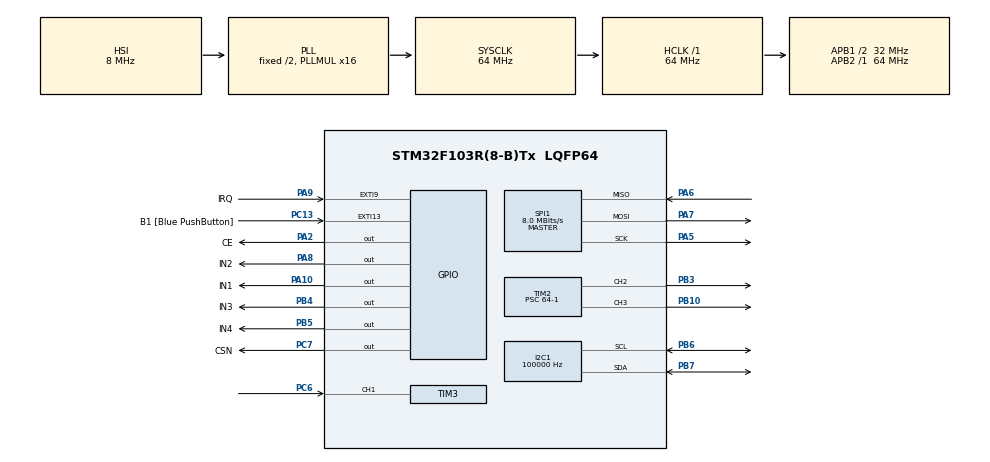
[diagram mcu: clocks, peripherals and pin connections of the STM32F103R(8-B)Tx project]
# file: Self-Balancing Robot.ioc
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I2C1.ClockSpeed=100000
Mcu.Family=STM32F1
Mcu.Name=STM32F103R(8-B)Tx
Mcu.Package=LQFP64
NVIC.EXTI15_10_IRQn=true\:0\:0\:false\:false\:true\:true\:true\:true
NVIC.EXTI9_5_IRQn=true\:0\:0\:false\:false\:true\:true\:true\:true
NVIC.PriorityGroup=NVIC_PRIORITYGROUP_4
NVIC.TIM3_IRQn=true\:0\:0\:false\:false\:true\:true\:true\:true
PA10.GPIO_Label=IN1
PA10.Signal=GPIO_Output
PA13.GPIO_Label=TMS
PA13.Mode=Serial_Wire
PA13.Signal=SYS_JTMS-SWDIO
PA14.GPIO_Label=TCK
PA14.Mode=Serial_Wire
PA14.Signal=SYS_JTCK-SWCLK
PA2.GPIO_Label=CE
PA2.Signal=GPIO_Output
PA3.GPIO_Label=USART_RX
PA3.GPIO_Mode=GPIO_MODE_AF_PP
PA3.GPIO_PuPd=GPIO_NOPULL
PA3.GPIO_Speed=GPIO_SPEED_FREQ_LOW
PA3.Signal=USART2_RX
PA5.Mode=Full_Duplex_Master
PA5.Signal=SPI1_SCK
PA6.Mode=Full_Duplex_Master
PA6.Signal=SPI1_MISO
PA7.Mode=Full_Duplex_Master
PA7.Signal=SPI1_MOSI
PA8.GPIO_Label=IN2
PA8.Signal=GPIO_Output
PA9.GPIO_Label=IRQ
PA9.GPIO_ModeDefaultEXTI=GPIO_MODE_IT_FALLING
PA9.Signal=GPXTI9
PB10.Signal=S_TIM2_CH3
PB3.Signal=S_TIM2_CH2
PB4.GPIO_Label=IN3
PB4.Signal=GPIO_Output
PB5.GPIO_Label=IN4
PB5.Signal=GPIO_Output
PB6.Mode=I2C
PB6.Signal=I2C1_SCL
PB7.Mode=I2C
PB7.Signal=I2C1_SDA
PC13-TAMPER-RTC.GPIO_Label=B1 [Blue PushButton]
PC13-TAMPER-RTC.GPIO_ModeDefaultEXTI=GPIO_MODE_IT_FALLING
PC13-TAMPER-RTC.GPIO_PuPd=GPIO_NOPULL
PC13-TAMPER-RTC.Signal=GPXTI13
PC14-OSC32_IN.Signal=RCC_OSC32_IN
PC15-OSC32_OUT.Signal=RCC_OSC32_OUT
PC6.Signal=S_TIM3_CH1
PC7.GPIO_Label=CSN
PC7.GPIO_Speed=GPIO_SPEED_FREQ_LOW
PC7.PinState=GPIO_PIN_RESET
PC7.Signal=GPIO_Output
PD0-OSC_IN.Signal=RCC_OSC_IN
PD1-OSC_OUT.Signal=RCC_OSC_OUT
ProjectManager.HeapSize=0x200
ProjectManager.StackSize=0x400
ProjectManager.TargetToolchain=STM32CubeIDE
RCC.AHBFreq_Value=64000000
RCC.APB1CLKDivider=RCC_HCLK_DIV2
RCC.APB1Freq_Value=32000000
RCC.APB1TimFreq_Value=64000000
RCC.APB2Freq_Value=64000000
RCC.APB2TimFreq_Value=64000000
RCC.HCLKFreq_Value=64000000
RCC.PLLMUL=RCC_PLL_MUL16
RCC.SYSCLKFreq_VALUE=64000000
RCC.SYSCLKSource=RCC_SYSCLKSOURCE_PLLCLK
RCC.USBFreq_Value=64000000
SH.S_TIM2_CH2.0=TIM2_CH2,PWM Generation2 CH2
SH.S_TIM2_CH3.0=TIM2_CH3,PWM Generation3 CH3
SH.S_TIM3_CH1.0=TIM3_CH1,Input_Capture1_from_TI1
SPI1.BaudRatePrescaler=SPI_BAUDRATEPRESCALER_8
SPI1.CalculateBaudRate=8.0 MBits/s
SPI1.Direction=SPI_DIRECTION_2LINES
SPI1.Mode=SPI_MODE_MASTER
SPI1.VirtualType=VM_MASTER
TIM2.Channel-PWM\ Generation2\ CH2=TIM_CHANNEL_2
TIM2.Channel-PWM\ Generation3\ CH3=TIM_CHANNEL_3
TIM2.Period=2000-1
TIM2.Prescaler=64-1
TIM2.Pulse-PWM\ Generation2\ CH2=1800
TIM2.Pulse-PWM\ Generation3\ CH3=1500
TIM3.Channel-Input_Capture1_from_TI1=TIM_CHANNEL_1
TIM3.Period=1000-1
TIM3.Prescaler=640-1
VP_TIM2_VS_ClockSourceINT.Mode=Internal
VP_TIM3_VS_ClockSourceINT.Mode=Internal
board=NUCLEO-F103RB

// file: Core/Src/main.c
/* USER CODE BEGIN Header */
/**
  ******************************************************************************
  * @file           : main.c
  * @brief          : Main program body
  ******************************************************************************
  * @attention
  *
  * Copyright (c) 2025 STMicroelectronics.
  * All rights reserved.
  *
  * This software is licensed under terms that can be found in the LICENSE file
  * in the root directory of this software component.
  * If no LICENSE file comes with this software, it is provided AS-IS.
  *
  ******************************************************************************
  */
/* USER CODE END Header */
#include "main.h"
#include "i2c.h"
#include "spi.h"
#include "tim.h"
#include "gpio.h"

/* USER CODE BEGIN Includes */
#include <math.h>
#include <stdio.h>
#include "nrf24l01p.h"
/* USER CODE END Includes */

/* USER CODE BEGIN PM */
#define ACC_I2C_ADDR 0b1101000 << 1
#define ACCEL_START_REG 0x3B
#define GYRO_START_REG 0x43
#define WHO_AM_I_REG 0x75
/* USER CODE END PM */

/* USER CODE BEGIN PV */
uint8_t rx_data[NRF24L01P_PAYLOAD_LENGTH] = { 0 };
uint16_t adc_value_servo;
uint16_t adc_value_motor;
float gyroXoffset, gyroYoffset, gyroZoffset;
/* USER CODE END PV */

void SystemClock_Config(void);
/* USER CODE BEGIN PFP */
extern void initialise_monitor_handles(void);
/* USER CODE END PFP */

/* USER CODE BEGIN 0 */
void HAL_GPIO_EXTI_Callback(uint16_t GPIO_Pin);

void read3dData(I2C_HandleTypeDef* hi2c, float* x, float* y, float* z, float rangeFactor, uint8_t startReg)
{
	  int16_t rawX,rawY,rawZ;
	  uint8_t i2c_receive8bit_buf[6];
	  const uint8_t bytes_to_receive = 6;

	  HAL_I2C_Mem_Read(hi2c, ACC_I2C_ADDR, startReg,1, i2c_receive8bit_buf, bytes_to_receive, 10);
	  rawX = (int16_t)(i2c_receive8bit_buf[0]<<8 | i2c_receive8bit_buf[1]);
	  rawY = (int16_t)(i2c_receive8bit_buf[2]<<8 | i2c_receive8bit_buf[3]);
	  rawZ = (int16_t)(i2c_receive8bit_buf[4]<<8 | i2c_receive8bit_buf[5]);

	  *x = (float)rawX/pow(2,15)*rangeFactor;
	  *y = (float)rawY/pow(2,15)*rangeFactor;
	  *z = (float)rawZ/pow(2,15)*rangeFactor;
}

void readAccelerometer(I2C_HandleTypeDef* hi2c, float* x, float* y, float* z)
{
	  const float wspolczynnik = 2;
	  read3dData(hi2c, x, y, z, wspolczynnik, ACCEL_START_REG);
}

void readGyroscope(I2C_HandleTypeDef* hi2c, float* x, float* y, float* z)
{
	const float wspolczynnik = 250.0f;
	read3dData(hi2c, x, y, z, wspolczynnik, GYRO_START_REG);
}

void calculatePitch(float *pitch, float ax, float ay, float az, float gx, float dt)
{
	const float alpha = 0.95;
	float acc_pitch = atan2(ax, sqrt(ay*ay+az*az)) * 180.0 / M_PI;
	// float acc_pitch = atan2(az, sqrt(ax*ax + ay*ay)) * (180.0 / M_PI); // Alternative vertical formula
	*pitch = alpha * (*pitch + gx * dt) + (1.0f-alpha) * acc_pitch;
}

float PID(float y, float yzad)
{
	const float Tp = 0.01f; //czas próbkowania
	const float K =  2.5f;
	const float Ti = 900000.0f;
	const float Td = 0.0f;

	static float u =  0.0f;

	//bledy:
	static float e = 0.0f;
	static float e_1 = 0.0f;
	static float e_2 = 0.0f;

	const float r2 = (K*Td)/Tp;
	const float r1 = K*((Tp/(2*Ti))-(2*Td/Tp)-1);
	const float r0 = K*(1+(Tp/(2*Ti))+(Td/Tp));

	//aktualizacja bledow:
	e_2 = e_1;
	e_1 = e;
	e = yzad - y;

	u = r2*e_2 + r1*e_1 + r0*e + u;
	return u;
}

void forward(uint16_t pwm)
{
	  HAL_GPIO_WritePin(IN3_GPIO_Port, IN3_Pin, 1);
	  HAL_GPIO_WritePin(IN4_GPIO_Port, IN4_Pin, 0);
	  HAL_GPIO_WritePin(IN1_GPIO_Port, IN1_Pin, 1);
	  HAL_GPIO_WritePin(IN2_GPIO_Port, IN2_Pin, 0);

	  __HAL_TIM_SET_COMPARE(&htim2, TIM_CHANNEL_2, pwm);
	  __HAL_TIM_SET_COMPARE(&htim2, TIM_CHANNEL_3, pwm);

}

void backward(uint16_t pwm)
{
	  HAL_GPIO_WritePin(IN3_GPIO_Port, IN3_Pin, 0);
	  HAL_GPIO_WritePin(IN4_GPIO_Port, IN4_Pin, 1);
	  HAL_GPIO_WritePin(IN1_GPIO_Port, IN1_Pin, 0);
	  HAL_GPIO_WritePin(IN2_GPIO_Port, IN2_Pin, 1);

	  __HAL_TIM_SET_COMPARE(&htim2, TIM_CHANNEL_2, pwm);
	  __HAL_TIM_SET_COMPARE(&htim2, TIM_CHANNEL_3, pwm);

}

void stop()
{
	  HAL_GPIO_WritePin(IN3_GPIO_Port, IN3_Pin, 0);
	  HAL_GPIO_WritePin(IN4_GPIO_Port, IN4_Pin, 0);
	  HAL_GPIO_WritePin(IN1_GPIO_Port, IN1_Pin, 0);
	  HAL_GPIO_WritePin(IN2_GPIO_Port, IN2_Pin, 0);

	  __HAL_TIM_SET_COMPARE(&htim2, TIM_CHANNEL_2, 0);
	  __HAL_TIM_SET_COMPARE(&htim2, TIM_CHANNEL_3, 0);
}

void HAL_TIM_PeriodElapsedCallback(TIM_HandleTypeDef *htim){
	if(htim->Instance == TIM3){
		const float dt = 0.01f; // pamietaj ze to jest 1/frequency timera
		float accxf, accyf, acczf;
		float gyroxf, gyroyf, gyrozf;
		static float pitch = 0.0f, setPitch = 0.0f, u; // setPitch = -86.6f
		const float max_u = 400.0;
		static uint16_t pwm;

		readAccelerometer(&hi2c1, &accxf, &accyf, &acczf);
		readGyroscope(&hi2c1, &gyroxf, &gyroyf, &gyrozf);
		calculatePitch(&pitch, accxf, accyf, acczf, gyroxf-gyroXoffset, dt);

		u = PID(pitch, setPitch);
		if (u > max_u) u = max_u;
		if (u < -max_u) u = -max_u;
//		printf("Control signal: %3.2f \n", u);

		pwm = (uint16_t)((fabs(u)/max_u)*2000);

		if (u > 5.0)
		{
			forward(pwm);
			printf("Forward with duty cycle: %4d \n", pwm);
		}
		else if (u < -5.0)
		{
			backward(pwm);
			printf("Backward with duty cycle: %4d \n", pwm);
		}
		else
		{
			stop();
			printf("Stop \n");
		}

//		printf("Pitch %3.2f degrees\n",pitch);

		adc_value_servo = (uint16_t)(rx_data[0] << 8) | rx_data[1];
		adc_value_motor = (uint16_t)(rx_data[2] << 8) | rx_data[3];
//		printf("Received servo: %d", adc_value_servo);
//		printf(" Received motor: %d \n", adc_value_motor);

	}
}

void calibrate_gyroscope_offset(float* x_offset, float* y_offset, float* z_offset)
{
    float x, y, z;
    const int samples = 10000;
    float sum_x = 0, sum_y = 0, sum_z = 0;

    for (int i = 0; i < samples; ++i) {
        readGyroscope(&hi2c1, &x, &y, &z);
        sum_x += x;
        sum_y += y;
        sum_z += z;
        HAL_Delay(2);
    }

    *x_offset = sum_x / samples;
    *y_offset = sum_y / samples;
    *z_offset = sum_z / samples;

    printf("Gyro offsets: X=%.3f, Y=%.3f, Z=%.3f", *x_offset, *y_offset, *z_offset);
}
/* USER CODE END 0 */

int main(void)
{

  /* MCU Configuration--------------------------------------------------------*/

  /* Reset of all peripherals, Initializes the Flash interface and the Systick. */
  HAL_Init();

  /* Configure the system clock */
  SystemClock_Config();

  /* Initialize all configured peripherals */
  MX_GPIO_Init();
  MX_TIM2_Init();
  MX_I2C1_Init();
  MX_TIM3_Init();
  MX_SPI1_Init();
  /* USER CODE BEGIN 2 */
  initialise_monitor_handles();
  HAL_TIM_PWM_Start(&htim2, TIM_CHANNEL_3);
  HAL_TIM_PWM_Start(&htim2, TIM_CHANNEL_2);

  uint8_t i2c_receive_buf[6];
  uint8_t i2c_transmit_buf[6];
  uint8_t bytes_to_receive = 1;

  HAL_I2C_Mem_Read(&hi2c1, ACC_I2C_ADDR, WHO_AM_I_REG, 1, i2c_receive_buf, bytes_to_receive, 50);

  printf("WHO_AM_I_A: 0x%02X \n", i2c_receive_buf[0]);

  uint8_t PWR_MGMT_1_reg = 0x6B;
  i2c_transmit_buf[0] = 0b00000000;
  HAL_I2C_Mem_Write(&hi2c1, ACC_I2C_ADDR, PWR_MGMT_1_reg, 1, i2c_transmit_buf, 1, 50);

  uint8_t SMPRT_DIV_reg = 0x19;
  i2c_transmit_buf[0] = 0x07;
  HAL_I2C_Mem_Write(&hi2c1, ACC_I2C_ADDR, SMPRT_DIV_reg, 1, i2c_transmit_buf, 1, 50);

  uint8_t GYRO_CONFIG_reg = 0x1B;
  i2c_transmit_buf[0] = 0x00;
  HAL_I2C_Mem_Write(&hi2c1, ACC_I2C_ADDR, GYRO_CONFIG_reg, 1, i2c_transmit_buf, 1, 50);

  uint8_t ACCEL_CONFIG_reg = 0x1C;
  HAL_I2C_Mem_Write(&hi2c1, ACC_I2C_ADDR, ACCEL_CONFIG_reg, 1, i2c_transmit_buf, 1, 50);

  calibrate_gyroscope_offset(&gyroXoffset, &gyroYoffset, &gyroZoffset);

  nrf24l01p_rx_init(2500, _1Mbps);

  HAL_TIM_Base_Start_IT(&htim3);
  HAL_NVIC_SetPriority(SysTick_IRQn, 0, 0);
  HAL_NVIC_SetPriority(EXTI9_5_IRQn, 0, 0);
  HAL_NVIC_SetPriority(TIM3_IRQn, 0, 0);
  HAL_NVIC_EnableIRQ(TIM3_IRQn);

  /* USER CODE END 2 */

  /* Infinite loop */
  /* USER CODE BEGIN WHILE */

  while (1)
  {

//	  printf("ACCEL xf: %3.2f g, yf: %3.2f g, zf: %3.2f g\n",accxf,accyf,acczf);
//	  printf("GYRO xf: %3.2f g, yf: %3.2f g, zf: %3.2f g\n",gyroxf,gyroyf,gyrozf);

    /* USER CODE END WHILE */

  }
}

void SystemClock_Config(void)
{
  RCC_OscInitTypeDef RCC_OscInitStruct = {0};
  RCC_ClkInitTypeDef RCC_ClkInitStruct = {0};

  /** Initializes the RCC Oscillators according to the specified parameters
  * in the RCC_OscInitTypeDef structure.
  */
  RCC_OscInitStruct.OscillatorType = RCC_OSCILLATORTYPE_HSI;
  RCC_OscInitStruct.HSIState = RCC_HSI_ON;
  RCC_OscInitStruct.HSICalibrationValue = RCC_HSICALIBRATION_DEFAULT;
  RCC_OscInitStruct.PLL.PLLState = RCC_PLL_ON;
  RCC_OscInitStruct.PLL.PLLSource = RCC_PLLSOURCE_HSI_DIV2;
  RCC_OscInitStruct.PLL.PLLMUL = RCC_PLL_MUL16;
  if (HAL_RCC_OscConfig(&RCC_OscInitStruct) != HAL_OK)
  {
    Error_Handler();
  }

  /** Initializes the CPU, AHB and APB buses clocks
  */
  RCC_ClkInitStruct.ClockType = RCC_CLOCKTYPE_HCLK|RCC_CLOCKTYPE_SYSCLK
                              |RCC_CLOCKTYPE_PCLK1|RCC_CLOCKTYPE_PCLK2;
  RCC_ClkInitStruct.SYSCLKSource = RCC_SYSCLKSOURCE_PLLCLK;
  RCC_ClkInitStruct.AHBCLKDivider = RCC_SYSCLK_DIV1;
  RCC_ClkInitStruct.APB1CLKDivider = RCC_HCLK_DIV2;
  RCC_ClkInitStruct.APB2CLKDivider = RCC_HCLK_DIV1;

  if (HAL_RCC_ClockConfig(&RCC_ClkInitStruct, FLASH_LATENCY_2) != HAL_OK)
  {
    Error_Handler();
  }
}

/* USER CODE BEGIN 4 */
void HAL_GPIO_EXTI_Callback(uint16_t GPIO_Pin)
{
	if(GPIO_Pin == NRF24L01P_IRQ_PIN_NUMBER)
		nrf24l01p_rx_receive(&rx_data);
}

/* USER CODE END 4 */

void Error_Handler(void)
{
  __disable_irq();
  while (1)
  {
  }
}
